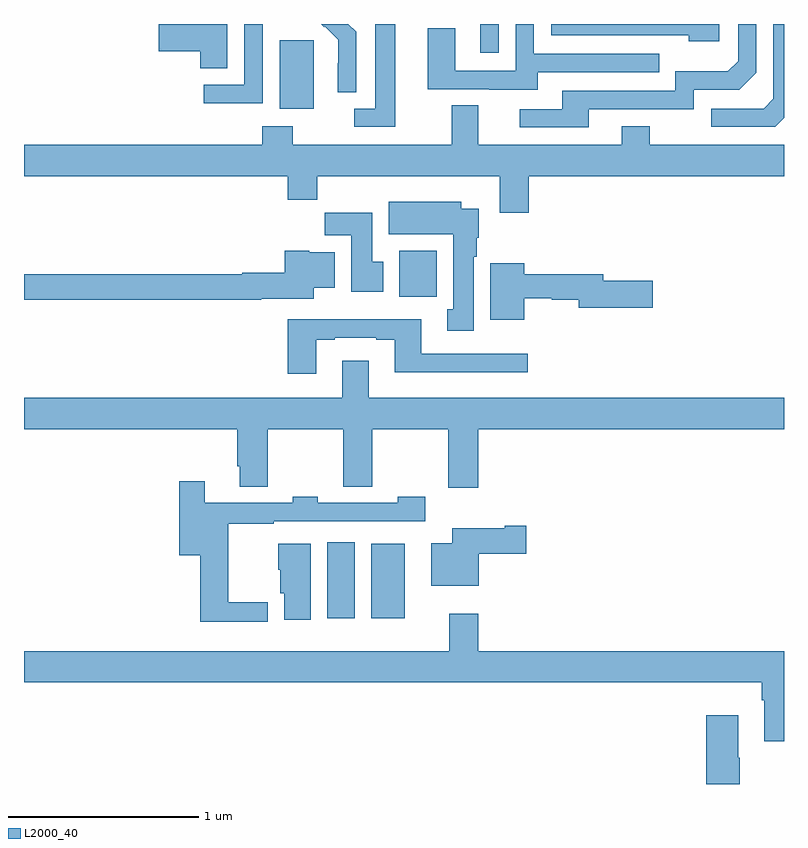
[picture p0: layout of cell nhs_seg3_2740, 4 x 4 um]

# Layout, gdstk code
import gdstk
lib = gdstk.Library(unit=1e-6, precision=1e-09)
def R(c, l, rs):  # rectangles x0, y0, x1, y1
    for r in rs: c.add(gdstk.rectangle(r[:2], r[2:], *l))
def P(c, l, *ps):  # polygons
    for p in ps: c.add(gdstk.Polygon(p, *l))
L2000_40 = (2000, 40)

nhs_seg3_2740 = lib.new_cell('nhs_seg3_2740')
R(nhs_seg3_2740, L2000_40, [(254.597,681.272,254.74,681.673), (254.828,681.272,255.004,681.664), (254.975,682.964,255.172,683.206), (254.345,683.954,254.524,684.315), (255.401,684.249,255.498,684.4)])
P(nhs_seg3_2740, L2000_40, [(254.071,684.4),(253.71,684.4),(253.71,684.257),(253.928,684.257),(253.928,684.166),(254.071,684.166)],
  [(255.703,684.147),(256.343,684.147),(256.343,684.243),(255.684,684.243),(255.684,684.4),(255.588,684.4),(255.588,684.153),(255.27,684.153),(255.27,684.377),(255.125,684.377),(255.125,684.057),(255.449,684.057),(255.449,684.053),(255.703,684.053)],
  [(256.66,684.4),(255.774,684.4),(255.774,684.342),(256.499,684.342),(256.499,684.308),(256.66,684.308)],
  [(254.748,684.358),(254.706,684.4),(254.564,684.4),(254.58,684.384),(254.583,684.387),(254.654,684.317),(254.654,684.194),(254.652,684.194),(254.652,684.04),(254.748,684.04)],
  [(254.256,684.4),(254.16,684.4),(254.16,684.081),(253.947,684.081),(253.947,683.983),(254.256,683.983)],
  [(255.973,683.952),(256.524,683.952),(256.524,684.054),(256.764,684.054),(256.854,684.144),(256.854,684.4),(256.758,684.4),(256.758,684.204),(256.705,684.151),(256.428,684.151),(256.428,684.048),(255.833,684.048),(255.833,683.952),(255.609,683.952),(255.609,683.856),(255.973,683.856)],
  [(257,683.906),(257,684.4),(256.944,684.4),(256.944,684.006),(256.893,683.955),(256.617,683.955),(256.617,683.859),(256.953,683.859)],
  [(254.953,684.4),(254.849,684.4),(254.849,683.955),(254.739,683.955),(254.739,683.859),(254.953,683.859)],
  [(255.656,683.6),(257,683.6),(257,683.764),(256.293,683.764),(256.293,683.863),(256.145,683.863),(256.145,683.764),(255.391,683.764),(255.391,683.972),(255.251,683.972),(255.251,683.764),(254.415,683.764),(254.415,683.863),(254.255,683.863),(254.255,683.764),(253,683.764),(253,683.6),(254.387,683.6),(254.387,683.476),(254.543,683.476),(254.543,683.6),(255.503,683.6),(255.503,683.406),(255.656,683.406)],
  [(255.367,683.174),(255.382,683.174),(255.382,683.274),(255.394,683.274),(255.394,683.428),(255.301,683.428),(255.301,683.464),(254.921,683.464),(254.921,683.294),(255.26,683.294),(255.26,682.898),(255.227,682.898),(255.227,682.785),(255.367,682.785)],
  [(254.89,683.148),(254.833,683.148),(254.833,683.406),(254.584,683.406),(254.584,683.288),(254.723,683.288),(254.723,682.992),(254.89,682.992)],
  [(254.248,682.955),(254.524,682.955),(254.524,683.012),(254.635,683.012),(254.635,683.2),(254.502,683.2),(254.502,683.206),(254.372,683.206),(254.372,683.092),(254.148,683.092),(254.148,683.084),(253,683.084),(253,682.948),(254.248,682.948)],
  [(255.634,682.956),(255.777,682.956),(255.777,682.948),(255.92,682.948),(255.92,682.906),(256.309,682.906),(256.309,683.048),(256.048,683.048),(256.048,683.084),(255.634,683.084),(255.634,683.14),(255.455,683.14),(255.455,682.844),(255.634,682.844)],
  [(254.539,682.737),(254.635,682.737),(254.635,682.749),(254.855,682.749),(254.855,682.737),(254.951,682.737),(254.951,682.568),(255.652,682.568),(255.652,682.665),(255.091,682.665),(255.091,682.846),(254.387,682.846),(254.387,682.56),(254.539,682.56)],
  [(255.392,682.268),(257,682.268),(257,682.432),(254.815,682.432),(254.815,682.627),(254.675,682.627),(254.675,682.432),(253,682.432),(253,682.268),(254.123,682.268),(254.123,682.072),(254.135,682.072),(254.135,681.964),(254.282,681.964),(254.282,682.268),(254.68,682.268),(254.68,681.964),(254.834,681.964),(254.834,682.268),(255.232,682.268),(255.232,681.96),(255.392,681.96)],
  [(254.284,681.356),(254.074,681.356),(254.074,681.771),(254.315,681.771),(254.315,681.783),(255.112,681.783),(255.112,681.912),(254.967,681.912),(254.967,681.879),(254.547,681.879),(254.547,681.912),(254.415,681.912),(254.415,681.879),(253.951,681.879),(253.951,681.994),(253.817,681.994),(253.817,681.605),(253.928,681.605),(253.928,681.254),(254.284,681.254)],
  [(255.394,681.611),(255.643,681.611),(255.643,681.758),(255.53,681.758),(255.53,681.745),(255.254,681.745),(255.254,681.667),(255.143,681.667),(255.143,681.443),(255.394,681.443)],
  [(254.509,681.664),(254.339,681.664),(254.339,681.528),(254.348,681.528),(254.348,681.405),(254.369,681.405),(254.369,681.264),(254.509,681.264)],
  [(257,681.1),(255.392,681.1),(255.392,681.295),(255.239,681.295),(255.239,681.1),(253,681.1),(253,680.936),(256.883,680.936),(256.883,680.84),(256.895,680.84),(256.895,680.625),(257,680.625)],
  [(256.767,680.537),(256.759,680.537),(256.759,680.761),(256.592,680.761),(256.592,680.4),(256.767,680.4)])

lib.write_gds('nhs_seg3_2740.gds')
